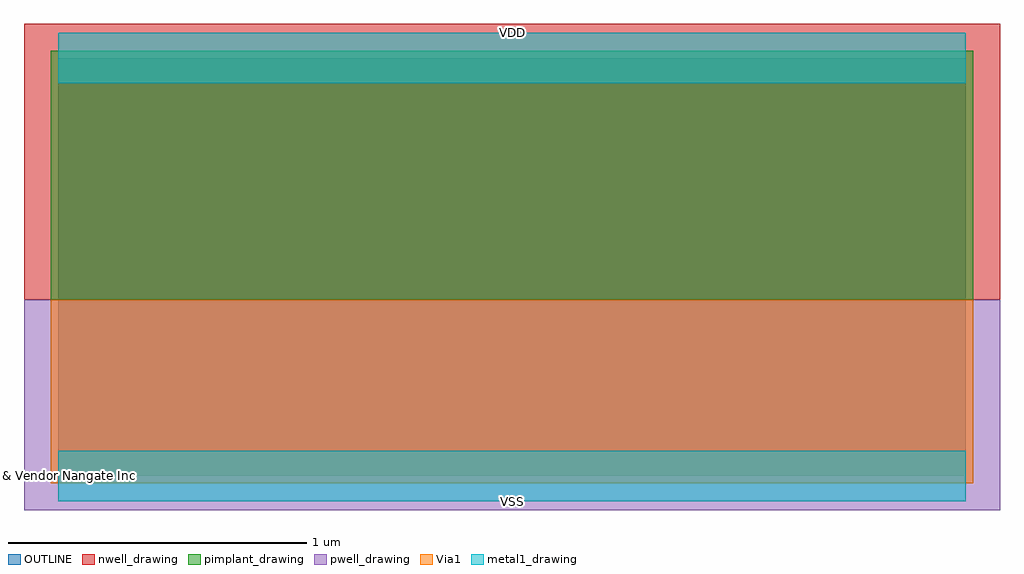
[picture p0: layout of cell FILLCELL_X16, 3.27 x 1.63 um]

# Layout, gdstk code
import gdstk
lib = gdstk.Library(unit=1e-6, precision=1e-10)
def R(c, l, rs):  # rectangles x0, y0, x1, y1
    for r in rs: c.add(gdstk.rectangle(r[:2], r[2:], *l))
pwell_drawing = (2, 0)
nwell_drawing = (3, 0)
Via1 = (4, 0)
pimplant_drawing = (5, 0)
metal1_drawing = (11, 0)
OUTLINE = (235, 0)

fillcell_x16 = lib.new_cell('FILLCELL_X16')
R(fillcell_x16, pwell_drawing, [(-0.115,-0.115,3.155,0.59)])
R(fillcell_x16, nwell_drawing, [(-0.115,0.59,3.155,1.515)])
R(fillcell_x16, Via1, [(-0.025,-0.025,3.065,0.59)])
R(fillcell_x16, pimplant_drawing, [(-0.025,0.59,3.065,1.425)])
R(fillcell_x16, metal1_drawing, [(0,-0.085,3.04,0.085), (0,1.315,3.04,1.485)])
R(fillcell_x16, OUTLINE, [(0,0,3.04,1.4)])
fillcell_x16.add(gdstk.Label('VDD', (1.52,1.485), layer=11, texttype=0))
fillcell_x16.add(gdstk.Label('VSS', (1.52,-0.085), layer=11, texttype=0))
fillcell_x16.add(gdstk.Label('& Vendor Nangate Inc', (0,0), layer=63, texttype=63))
fillcell_x16.add(gdstk.Label('& Product Open Cell Library', (0,0), layer=63, texttype=63))
fillcell_x16.add(gdstk.Label('& Version 2010_12', (0,0), layer=63, texttype=63))
fillcell_x16.add(gdstk.Label('& Instance FILLCELL_X16', (0,0), layer=63, texttype=63))

lib.write_gds('FILLCELL_X16.gds')
